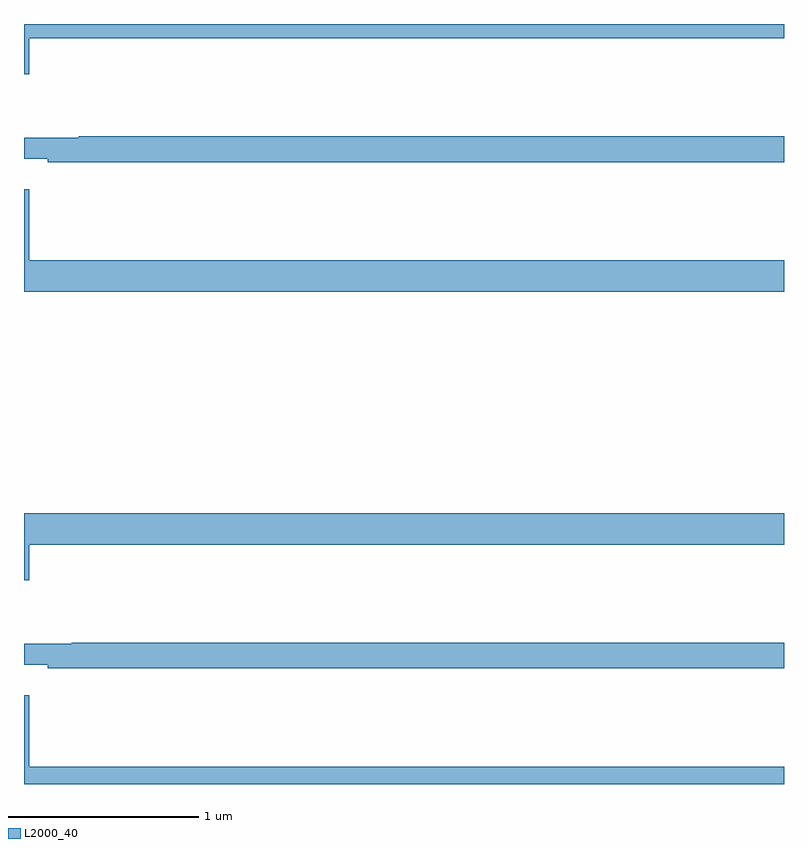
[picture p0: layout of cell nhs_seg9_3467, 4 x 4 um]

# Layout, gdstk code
import gdstk
lib = gdstk.Library(unit=1e-6, precision=1e-09)
def P(c, l, *ps):  # polygons
    for p in ps: c.add(gdstk.Polygon(p, *l))
L2000_40 = (2000, 40)

nhs_seg9_3467 = lib.new_cell('nhs_seg9_3467')
P(nhs_seg9_3467, L2000_40, [(309.028,1192.424),(313,1192.424),(313,1192.5),(309,1192.5),(309,1192.236),(309.028,1192.236)],
  [(313,1191.908),(309.287,1191.908),(309.287,1191.901),(309,1191.901),(309,1191.791),(309.124,1191.791),(309.124,1191.772),(313,1191.772)],
  [(313,1191.256),(309.028,1191.256),(309.028,1191.631),(309,1191.631),(309,1191.092),(313,1191.092)],
  [(309.028,1189.76),(313,1189.76),(313,1189.924),(309,1189.924),(309,1189.572),(309.028,1189.572)],
  [(313,1189.244),(309.251,1189.244),(309.251,1189.237),(309,1189.237),(309,1189.127),(309.124,1189.127),(309.124,1189.108),(313,1189.108)],
  [(313,1188.592),(309.028,1188.592),(309.028,1188.967),(309,1188.967),(309,1188.5),(313,1188.5)])

lib.write_gds('nhs_seg9_3467.gds')
